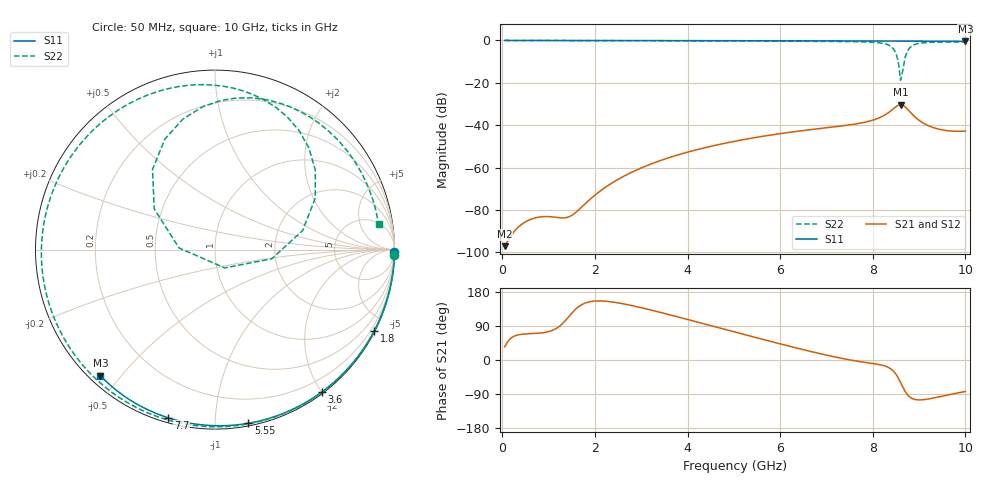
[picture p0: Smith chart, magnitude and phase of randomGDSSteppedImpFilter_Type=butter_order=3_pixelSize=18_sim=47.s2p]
! freq	dB(S11)	phase(S11)	dB(S12)	phase(S12)
!  dB(S21)	phase(S21)	dB(S22)	phase(S22)
!S-par simulation data
#  GHz  S  DB  R 50
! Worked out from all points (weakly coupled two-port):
!   200 points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, 50 MHz to 10 GHz, reference 50 ohm
!   highest |S21| = -30.27 dB at 8.6 GHz (marker M1); lowest = -97.1 dB at 50 MHz (marker M2)
!   lowest |S11| = -0.5 dB at 10 GHz (marker M3), VSWR 38.41, Z = 1.56 - j22.1 ohm
!   |S11| at or under -10 dB: nowhere
!   |S22| runs from -18.7 to 0.0 dB; largest |S21 - S12| = 0
!   S11 on the Smith chart (normalised r, x): 50 MHz: open; 1.8 GHz: 0.04, -4.15; 3.6 GHz: 0.02, -2.01; 5.55 GHz: 0.02, -1.21; 7.7 GHz: 0.02, -0.76; 10 GHz: 0.03, -0.44
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0.05  -0.00 -0.8  -97.12 34.5  -97.12 34.5  -0.00 -1.7
1.65  -0.03 -24.9  -79.98 141.0  -79.98 141.0  -0.07 -54.4
1.75  -0.03 -26.4  -77.91 148.2  -77.91 148.2  -0.07 -57.6
1.8  -0.03 -27.1  -76.89 150.7  -76.89 150.7  -0.07 -59.2
2.5  -0.05 -37.3  -65.57 150.8  -65.57 150.8  -0.10 -81.0
3.4  -0.07 -50.2  -56.81 126.1  -56.81 126.1  -0.14 -108.0
3.6  -0.07 -53.0  -55.34 119.8  -55.34 119.8  -0.15 -113.9
5.05  -0.11 -72.6  -47.46 72.9  -47.46 72.9  -0.23 -156.9
5.55  -0.13 -79.1  -45.51 56.8  -45.51 56.8  -0.27 -172.4
6.7  -0.18 -93.5  -41.99 21.3  -41.99 21.3  -0.39 147.7
7.7  -0.24 -105.6  -39.16 -3.8  -39.16 -3.8  -0.62 102.6
8.1  -0.27 -110.3  -36.89 -11.3  -36.89 -11.3  -1.02 75.9
8.35  -0.29 -113.2  -33.90 -20.4  -33.90 -20.4  -2.25 47.4
8.5  -0.30 -114.9  -31.28 -37.3  -31.28 -37.3  -6.02 12.3
8.55  -0.31 -115.5  -30.58 -47.3  -30.58 -47.3  -9.88 -9.1
8.6  -0.31 -116.1  -30.27 -59.3  -30.27 -59.3  -18.75 -61.9
8.7  -0.32 -117.2  -31.32 -83.2  -31.32 -83.2  -7.79 146.2
8.75  -0.32 -117.8  -32.43 -91.8  -32.43 -91.8  -4.93 127.9
8.85  -0.33 -119.0  -34.80 -101.6  -34.80 -101.6  -2.52 103.8
9  -0.34 -120.7  -37.72 -105.4  -37.72 -105.4  -1.38 81.8
9.45  -0.39 -125.9  -41.99 -96.8  -41.99 -96.8  -0.76 43.5
10  -0.45 -132.2  -42.80 -83.2  -42.80 -83.2  -0.71 8.7
